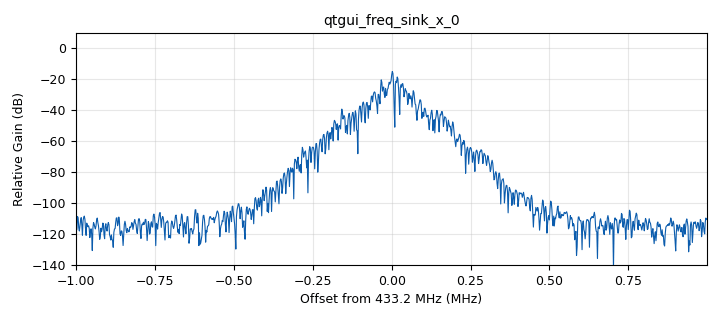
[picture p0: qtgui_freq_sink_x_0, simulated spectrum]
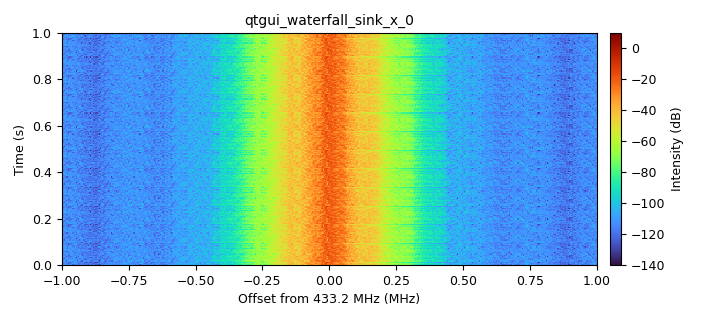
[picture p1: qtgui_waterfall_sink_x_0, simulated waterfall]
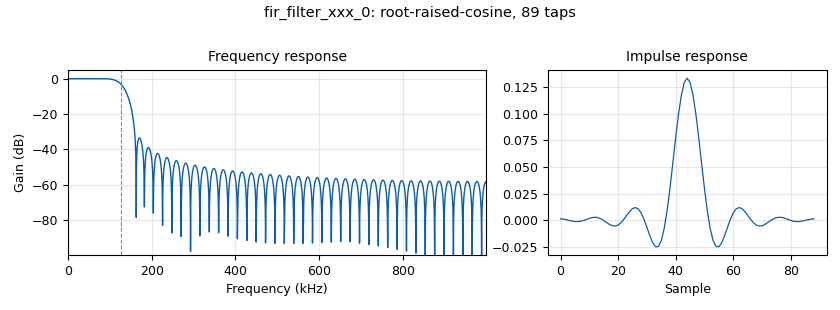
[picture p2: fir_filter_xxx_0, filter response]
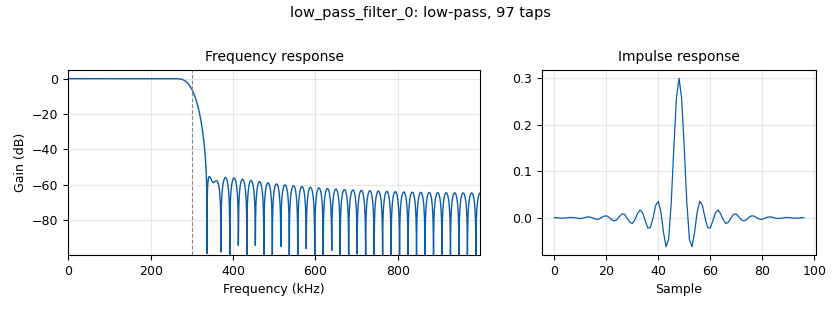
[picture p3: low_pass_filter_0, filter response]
options:
  parameters:
    generate_options: qt_gui
    id: untitled
    output_language: python
    title: Not titled yet
  states: {}

blocks:
- name: alpha
  id: variable
  parameters:
    value: '0.25'
  states: {}
- name: center_freq
  id: variable
  parameters:
    value: 433.2e6
  states: {}
- name: freq_width
  id: variable
  parameters:
    value: 0.4e6
  states: {}
- name: pi
  id: variable
  parameters:
    value: '3.1415926'
  states: {}
- name: samp_rate
  id: variable
  parameters:
    value: int(2e6)
  states: {}
- name: sps
  id: variable
  parameters:
    value: int(samp_rate / symbol_rate)
  states: {}
- name: symbol_rate
  id: variable
  parameters:
    value: 250e3
  states: {}
- name: analog_frequency_modulator_fc_0
  id: analog_frequency_modulator_fc
  parameters:
    sensitivity: '0.54'
  states: {}
- name: analog_quadrature_demod_cf_0
  id: analog_quadrature_demod_cf
  parameters:
    gain: samp_rate / (2 * 3.14159 * 150000 / 1.0)
  states: {}
- name: analog_random_source_x_0
  id: analog_random_source_x
  parameters:
    max: '4'
    min: '0'
    num_samps: '10000'
    repeat: 'True'
    type: byte
  states: {}
- name: blocks_multiply_const_vxx_0
  id: blocks_multiply_const_vxx
  parameters:
    const: '7'
    type: float
  states: {}
- name: blocks_throttle_0
  id: blocks_throttle
  parameters:
    samples_per_second: samp_rate
    type: byte
  states: {}
- name: blocks_unpacked_to_packed_xx_0
  id: blocks_unpacked_to_packed_xx
  parameters:
    bits_per_chunk: '2'
    endianness: gr.GR_MSB_FIRST
    type: byte
  states: {}
- name: digital_chunks_to_symbols_xx_0
  id: digital_chunks_to_symbols_xx
  parameters:
    dimension: '2'
    in_type: byte
    out_type: float
    symbol_table: '[-3, -1, 1, 3]'
  states: {}
- name: digital_symbol_sync_xx_0
  id: digital_symbol_sync_xx
  parameters:
    damping: '1.0'
    loop_bw: '0.045'
    max_dev: '1.5'
    osps: '1'
    resamp_type: digital.IR_MMSE_8TAP
    sps: sps
    ted_gain: '1.0'
    ted_type: digital.TED_MUELLER_AND_MULLER
    type: ff
  states: {}
- name: epy_block_0
  id: epy_block
  parameters:
    _source_code: |
      import numpy as np
      from gnuradio import gr

      class blk(gr.sync_block):
          def __init__(self):
              gr.sync_block.__init__(
                  self,
                  name='4-FSK Slicer',
                  in_sig=[np.float32], # 输入是同步后的浮点数
                  out_sig=[np.uint8]   # 输出是 0, 1, 2, 3 的符号
              )

          def work(self, input_items, output_items):
              in0 = input_items[0]
              out = output_items[0]
              
              # 判决门限：2, 0, -2
              for i in range(len(in0)):
                  if in0[i] > 2:
                      out[i] = 3   # 对应 11
                  elif in0[i] > 0:
                      out[i] = 2   # 对应 10
                  elif in0[i] > -2:
                      out[i] = 1   # 对应 01
                  else:
                      out[i] = 0   # 对应 00
              return len(out)
  states: {}
- name: epy_block_1
  id: epy_block
  parameters:
    _source_code: |
      import numpy as np
      from gnuradio import gr
      import os
      import subprocess

      class blk(gr.sync_block):
          def __init__(self):
              gr.sync_block.__init__(self, name='Auto Terminal', in_sig=[np.uint8], out_sig=None)
              # 只在初始化时执行一次：打开 gnome-terminal 运行 nc 监听命令
              # 如果你用的是 Ubuntu，使用 gnome-terminal
              # od -t x1 是将数据以 16 进制显示，这是看原始数据最方便的方式
              cmd = 'gnome-terminal -- bash -c "echo 正在等待信号数据...; nc -u -l 12345 | od -t x1 -An; exec bash"'
              subprocess.Popen(cmd, shell=True)

          def work(self, input_items, output_items):
              # 这个模块不需要对数据做处理，直接透传或丢弃即可
              return len(input_items[0])
  states: {}
- name: fir_filter_xxx_0
  id: fir_filter_xxx
  parameters:
    decim: '1'
    taps: firdes.root_raised_cosine(1.0, samp_rate, symbol_rate, 0.25, 88)
    type: fff
  states: {}
- name: iio_pluto_sink_0
  id: iio_pluto_sink
  parameters:
    attenuation1: '20'
    bandwidth: int(540000)
    buffer_size: '32768'
    cyclic: 'False'
    filter_source: '''Auto'''
    frequency: int(center_freq)
    samplerate: int(samp_rate)
    type: fc32
    uri: ip:192.168.2.100
  states: {}
- name: iio_pluto_source_0
  id: iio_pluto_source
  parameters:
    bandwidth: int(1e6)
    bbdc: 'True'
    buffer_size: '32768'
    filter_source: '''Auto'''
    frequency: int(433.2e6)
    gain1: '''manual'''
    manual_gain1: '50'
    quadrature: 'True'
    rfdc: 'True'
    samplerate: int(samp_rate)
    type: fc32
    uri: ip:192.168.2.100
  states: {}
- name: interp_fir_filter_xxx_0
  id: interp_fir_filter_xxx
  parameters:
    interp: '8'
    taps: |
      firdes.root_raised_cosine(1.0, samp_rate, symbol_rate, alpha, 88)
    type: fff
  states: {}
- name: low_pass_filter_0
  id: low_pass_filter
  parameters:
    cutoff_freq: 300e3
    decim: '1'
    gain: '1'
    samp_rate: samp_rate
    type: fir_filter_ccf
    width: 50e3
    win: window.WIN_HAMMING
  states: {}
- name: network_udp_sink_0
  id: network_udp_sink
  parameters:
    addr: 127.0.0.1
    header: '0'
    payloadsize: '1472'
    port: '12345'
    send_eof: 'False'
    type: byte
  states: {}
- name: qtgui_freq_sink_x_0
  id: qtgui_freq_sink_x
  parameters:
    bw: samp_rate
    fc: 433.2e6
    fftsize: '1024'
    type: complex
  states: {}
- name: qtgui_time_sink_x_0
  id: qtgui_time_sink_x
  parameters:
    autoscale: 'True'
    ctrlpanel: 'True'
    grid: 'True'
    marker1: '0'
    size: '1024'
    srate: symbol_rate
    type: float
  states: {}
- name: qtgui_time_sink_x_1
  id: qtgui_time_sink_x
  parameters:
    size: sps * 10
    srate: samp_rate
    type: float
  states: {}
- name: qtgui_waterfall_sink_x_0
  id: qtgui_waterfall_sink_x
  parameters:
    bw: samp_rate
    fc: center_freq
    fftsize: '1024'
    type: complex
  states: {}
- name: qtgui_waterfall_sink_x_0_0
  id: qtgui_waterfall_sink_x
  parameters:
    bw: samp_rate
    fc: center_freq
    fftsize: '1024'
    type: complex
  states: {}

connections:
- [analog_frequency_modulator_fc_0, '0', iio_pluto_sink_0, '0']
- [analog_frequency_modulator_fc_0, '0', qtgui_freq_sink_x_0, '0']
- [analog_frequency_modulator_fc_0, '0', qtgui_waterfall_sink_x_0, '0']
- [analog_quadrature_demod_cf_0, '0', fir_filter_xxx_0, '0']
- [analog_random_source_x_0, '0', blocks_throttle_0, '0']
- [blocks_multiply_const_vxx_0, '0', epy_block_0, '0']
- [blocks_multiply_const_vxx_0, '0', qtgui_time_sink_x_0, '0']
- [blocks_throttle_0, '0', digital_chunks_to_symbols_xx_0, '0']
- [blocks_unpacked_to_packed_xx_0, '0', epy_block_1, '0']
- [blocks_unpacked_to_packed_xx_0, '0', network_udp_sink_0, '0']
- [digital_chunks_to_symbols_xx_0, '0', interp_fir_filter_xxx_0, '0']
- [digital_symbol_sync_xx_0, '0', blocks_multiply_const_vxx_0, '0']
- [epy_block_0, '0', blocks_unpacked_to_packed_xx_0, '0']
- [fir_filter_xxx_0, '0', digital_symbol_sync_xx_0, '0']
- [fir_filter_xxx_0, '0', qtgui_time_sink_x_1, '0']
- [iio_pluto_source_0, '0', low_pass_filter_0, '0']
- [iio_pluto_source_0, '0', qtgui_waterfall_sink_x_0_0, '0']
- [interp_fir_filter_xxx_0, '0', analog_frequency_modulator_fc_0, '0']
- [low_pass_filter_0, '0', analog_quadrature_demod_cf_0, '0']

metadata:
  file_format: 1
